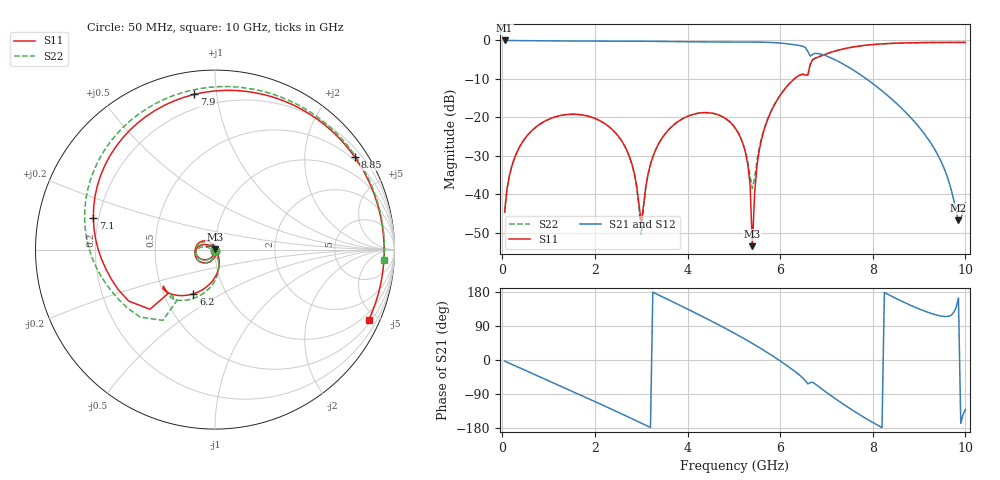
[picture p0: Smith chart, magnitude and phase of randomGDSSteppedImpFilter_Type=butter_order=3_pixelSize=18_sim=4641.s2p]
! freq	dB(S11)	phase(S11)	dB(S12)	phase(S12)
!  dB(S21)	phase(S21)	dB(S22)	phase(S22)
!S-par simulation data
#  GHz  S  DB  R 50
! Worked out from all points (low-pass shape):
!   200 points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, 50 MHz to 10 GHz, reference 50 ohm
!   highest |S21| = 0.00 dB at 50 MHz (marker M1); lowest = -46.8 dB at 9.85 GHz (marker M2)
!   |S21| within 3 dB of the highest: start of sweep to 6.603 GHz
!   lowest |S11| = -53.5 dB at 5.4 GHz (marker M3), VSWR 1.00, Z = 49.8 + j0.0739 ohm
!   |S11| at or under -10 dB: start of sweep to 6.308 GHz
!   |S22| runs from -50.4 to -0.5 dB; largest |S21 - S12| = 0
!   S11 on the Smith chart (normalised r, x): 50 MHz: 1.00, -0.01; 6.2 GHz: 0.70, -0.37; 7.1 GHz: 0.18, +0.13; 7.9 GHz: 0.12, +0.87; 8.85 GHz: 0.41, +3.28; 10 GHz: 0.65, -4.49
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0.05  -44.65 -90.7  -0.00 -2.8  -0.00 -2.8  -44.65 -90.7
0.55  -24.58 -121.0  -0.06 -30.3  -0.06 -30.3  -24.58 -120.2
1.75  -19.41 171.5  -0.16 -95.9  -0.16 -95.9  -19.42 174.7
2.65  -27.61 116.8  -0.19 -146.3  -0.19 -146.3  -27.67 127.5
2.85  -34.49 98.2  -0.20 -157.8  -0.20 -157.8  -34.69 121.1
3  -47.42 16.2  -0.21 -166.5  -0.21 -166.5  -50.45 -169.3
3.15  -34.63 -74.3  -0.22 -175.2  -0.22 -175.2  -34.65 -92.9
3.4  -26.36 -97.0  -0.25 170.2  -0.25 170.2  -26.34 -101.9
4.3  -18.82 -155.0  -0.38 116.1  -0.38 116.1  -18.80 -151.5
5.05  -23.15 155.7  -0.40 68.1  -0.40 68.1  -23.10 167.1
5.3  -32.14 139.1  -0.40 50.9  -0.40 50.9  -31.49 167.1
5.4  -53.49 159.5  -0.41 43.8  -0.41 43.8  -38.50 -140.6
5.5  -32.48 -59.5  -0.42 36.5  -0.42 36.5  -31.23 -78.4
5.6  -25.63 -66.2  -0.44 29.1  -0.44 29.1  -25.23 -72.5
6.2  -11.25 -116.0  -0.93 -19.4  -0.93 -19.4  -11.17 -109.5
6.7  -5.04 -149.2  -3.63 -58.7  -3.63 -58.7  -5.02 -137.9
7.1  -3.09 165.3  -4.55 -94.3  -4.55 -94.3  -3.06 179.1
7.9  -1.18 97.5  -10.32 -157.8  -10.32 -157.8  -1.19 116.1
8.35  -0.79 65.1  -14.62 171.8  -14.62 171.8  -0.81 85.3
8.85  -0.59 33.4  -20.46 142.5  -20.46 142.5  -0.61 54.6
9.85  -0.51 -18.0  -46.80 163.9  -46.80 163.9  -0.50 3.1
10  -0.52 -24.6  -42.30 -130.4  -42.30 -130.4  -0.50 -3.6
